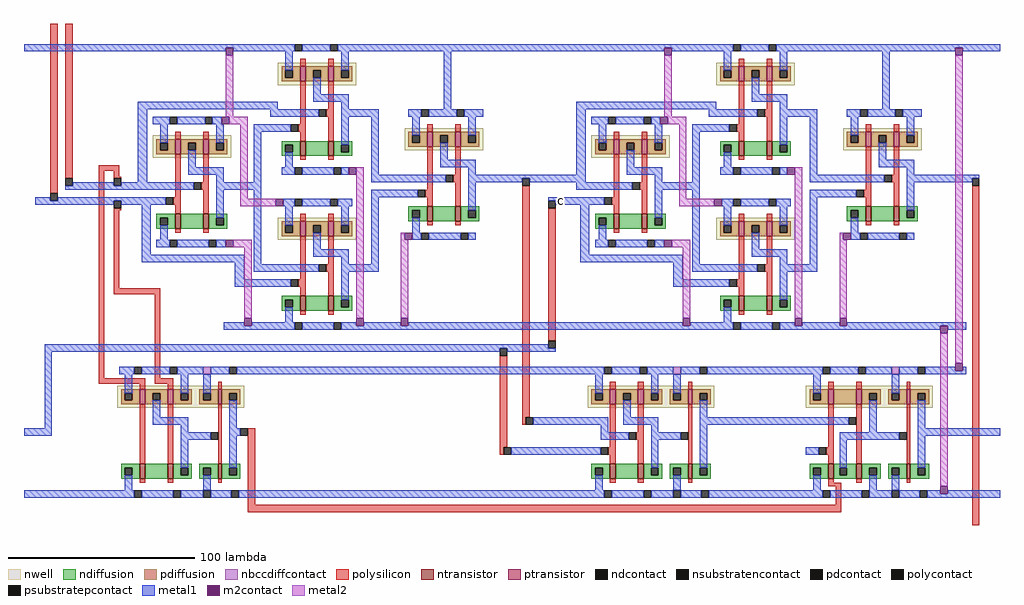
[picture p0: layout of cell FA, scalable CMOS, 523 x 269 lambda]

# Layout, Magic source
magic
tech scmos
<< nwell >>
rect -22 56 20 68
rect 213 56 255 68
rect -89 17 -47 29
rect 46 21 88 33
rect 146 17 188 29
rect 281 21 323 33
rect -22 -27 20 -15
rect 213 -27 255 -15
rect -108 -117 -40 -105
rect 144 -117 212 -105
rect 261 -117 329 -105
<< polysilicon >>
rect -144 -2 -140 89
rect -136 6 -132 89
rect -10 66 -7 70
rect 5 66 8 70
rect 225 66 228 70
rect 240 66 243 70
rect -10 35 -7 58
rect 5 43 8 58
rect 4 39 8 43
rect -11 31 -7 35
rect -77 27 -74 31
rect -62 27 -59 31
rect -10 26 -7 31
rect 5 26 8 39
rect 225 35 228 58
rect 240 43 243 58
rect 239 39 243 43
rect 58 31 61 35
rect 73 31 76 35
rect 224 31 228 35
rect -118 10 -107 13
rect -118 -101 -115 10
rect -110 7 -107 10
rect -110 6 -106 7
rect -77 -4 -74 19
rect -62 4 -59 19
rect 158 27 161 31
rect 173 27 176 31
rect -10 16 -7 18
rect 5 16 8 18
rect -63 0 -59 4
rect 58 0 61 23
rect 73 8 76 23
rect 225 26 228 31
rect 240 26 243 39
rect 293 31 296 35
rect 308 31 311 35
rect 72 4 76 8
rect -78 -8 -74 -4
rect -110 -11 -106 -10
rect -110 -53 -107 -11
rect -77 -13 -74 -8
rect -62 -13 -59 0
rect 57 -4 61 0
rect 58 -9 61 -4
rect 73 -9 76 4
rect -10 -17 -7 -13
rect 5 -17 8 -13
rect -77 -23 -74 -21
rect -62 -23 -59 -21
rect 58 -19 61 -17
rect 73 -19 76 -17
rect -10 -48 -7 -25
rect 5 -40 8 -25
rect 4 -44 8 -40
rect -11 -52 -7 -48
rect -110 -56 -85 -53
rect -88 -101 -85 -56
rect -10 -57 -7 -52
rect 5 -57 8 -44
rect -10 -67 -7 -65
rect 5 -67 8 -65
rect -118 -104 -93 -101
rect -88 -104 -78 -101
rect -96 -107 -93 -104
rect -81 -107 -78 -104
rect -54 -107 -52 -103
rect -96 -147 -93 -115
rect -81 -147 -78 -115
rect -54 -147 -52 -115
rect -96 -157 -93 -155
rect -81 -157 -78 -155
rect -54 -157 -52 -155
rect -38 -169 -34 -128
rect 97 -138 101 -89
rect 109 -122 113 2
rect 158 -4 161 19
rect 173 4 176 19
rect 225 16 228 18
rect 240 16 243 18
rect 172 0 176 4
rect 293 0 296 23
rect 308 8 311 23
rect 307 4 311 8
rect 157 -8 161 -4
rect 123 -81 127 -10
rect 158 -13 161 -8
rect 173 -13 176 0
rect 292 -4 296 0
rect 293 -9 296 -4
rect 308 -9 311 4
rect 225 -17 228 -13
rect 240 -17 243 -13
rect 158 -23 161 -21
rect 173 -23 176 -21
rect 293 -19 296 -17
rect 308 -19 311 -17
rect 225 -48 228 -25
rect 240 -40 243 -25
rect 239 -44 243 -40
rect 224 -52 228 -48
rect 225 -57 228 -52
rect 240 -57 243 -44
rect 225 -67 228 -65
rect 240 -67 243 -65
rect 156 -107 159 -103
rect 171 -107 174 -103
rect 198 -107 200 -103
rect 273 -107 276 -103
rect 288 -107 291 -103
rect 315 -107 317 -103
rect 109 -126 111 -122
rect 156 -138 159 -115
rect 171 -130 174 -115
rect 170 -134 174 -130
rect 97 -142 99 -138
rect 155 -142 159 -138
rect 156 -147 159 -142
rect 171 -147 174 -134
rect 198 -147 200 -115
rect 273 -138 276 -115
rect 272 -142 276 -138
rect 273 -147 276 -142
rect 288 -147 291 -115
rect 315 -147 317 -115
rect 156 -157 159 -155
rect 171 -157 174 -155
rect 198 -157 200 -155
rect 273 -157 276 -155
rect 288 -157 291 -155
rect 315 -157 317 -155
rect 273 -159 280 -157
rect 277 -169 280 -159
rect -38 -173 280 -169
rect 350 -180 354 2
<< ndiffusion >>
rect -20 24 -10 26
rect -20 20 -18 24
rect -14 20 -10 24
rect -20 18 -10 20
rect -7 18 5 26
rect 8 24 18 26
rect 8 20 12 24
rect 16 20 18 24
rect 8 18 18 20
rect 215 24 225 26
rect 215 20 217 24
rect 221 20 225 24
rect 48 -11 58 -9
rect -87 -15 -77 -13
rect -87 -19 -85 -15
rect -81 -19 -77 -15
rect -87 -21 -77 -19
rect -74 -21 -62 -13
rect -59 -15 -49 -13
rect -59 -19 -55 -15
rect -51 -19 -49 -15
rect 48 -15 50 -11
rect 54 -15 58 -11
rect 48 -17 58 -15
rect 61 -17 73 -9
rect 76 -11 86 -9
rect 76 -15 80 -11
rect 84 -15 86 -11
rect 76 -17 86 -15
rect -59 -21 -49 -19
rect -20 -59 -10 -57
rect -20 -63 -18 -59
rect -14 -63 -10 -59
rect -20 -65 -10 -63
rect -7 -65 5 -57
rect 8 -59 18 -57
rect 8 -63 12 -59
rect 16 -63 18 -59
rect 8 -65 18 -63
rect -106 -149 -96 -147
rect -106 -153 -104 -149
rect -100 -153 -96 -149
rect -106 -155 -96 -153
rect -93 -155 -81 -147
rect -78 -149 -68 -147
rect -78 -153 -74 -149
rect -70 -153 -68 -149
rect -78 -155 -68 -153
rect -64 -149 -54 -147
rect -64 -153 -62 -149
rect -58 -153 -54 -149
rect -64 -155 -54 -153
rect -52 -149 -42 -147
rect -52 -153 -48 -149
rect -44 -153 -42 -149
rect -52 -155 -42 -153
rect 215 18 225 20
rect 228 18 240 26
rect 243 24 253 26
rect 243 20 247 24
rect 251 20 253 24
rect 243 18 253 20
rect 283 -11 293 -9
rect 148 -15 158 -13
rect 148 -19 150 -15
rect 154 -19 158 -15
rect 148 -21 158 -19
rect 161 -21 173 -13
rect 176 -15 186 -13
rect 176 -19 180 -15
rect 184 -19 186 -15
rect 283 -15 285 -11
rect 289 -15 293 -11
rect 283 -17 293 -15
rect 296 -17 308 -9
rect 311 -11 321 -9
rect 311 -15 315 -11
rect 319 -15 321 -11
rect 311 -17 321 -15
rect 176 -21 186 -19
rect 215 -59 225 -57
rect 215 -63 217 -59
rect 221 -63 225 -59
rect 215 -65 225 -63
rect 228 -65 240 -57
rect 243 -59 253 -57
rect 243 -63 247 -59
rect 251 -63 253 -59
rect 243 -65 253 -63
rect 146 -149 156 -147
rect 146 -153 148 -149
rect 152 -153 156 -149
rect 146 -155 156 -153
rect 159 -155 171 -147
rect 174 -149 184 -147
rect 174 -153 178 -149
rect 182 -153 184 -149
rect 174 -155 184 -153
rect 188 -149 198 -147
rect 188 -153 190 -149
rect 194 -153 198 -149
rect 188 -155 198 -153
rect 200 -149 210 -147
rect 200 -153 204 -149
rect 208 -153 210 -149
rect 200 -155 210 -153
rect 263 -149 273 -147
rect 263 -153 265 -149
rect 269 -153 273 -149
rect 263 -155 273 -153
rect 276 -149 288 -147
rect 276 -153 279 -149
rect 283 -153 288 -149
rect 276 -155 288 -153
rect 291 -149 301 -147
rect 291 -153 295 -149
rect 299 -153 301 -149
rect 291 -155 301 -153
rect 305 -149 315 -147
rect 305 -153 307 -149
rect 311 -153 315 -149
rect 305 -155 315 -153
rect 317 -149 327 -147
rect 317 -153 321 -149
rect 325 -153 327 -149
rect 317 -155 327 -153
<< pdiffusion >>
rect -20 64 -10 66
rect -20 60 -18 64
rect -14 60 -10 64
rect -20 58 -10 60
rect -7 64 5 66
rect -7 60 -3 64
rect 1 60 5 64
rect -7 58 5 60
rect 8 64 18 66
rect 8 60 12 64
rect 16 60 18 64
rect 8 58 18 60
rect 215 64 225 66
rect 215 60 217 64
rect 221 60 225 64
rect 215 58 225 60
rect 228 64 240 66
rect 228 60 232 64
rect 236 60 240 64
rect 228 58 240 60
rect 243 64 253 66
rect 243 60 247 64
rect 251 60 253 64
rect 243 58 253 60
rect -87 25 -77 27
rect -87 21 -85 25
rect -81 21 -77 25
rect -87 19 -77 21
rect -74 25 -62 27
rect -74 21 -70 25
rect -66 21 -62 25
rect -74 19 -62 21
rect -59 25 -49 27
rect 48 29 58 31
rect -59 21 -55 25
rect -51 21 -49 25
rect -59 19 -49 21
rect 48 25 50 29
rect 54 25 58 29
rect 48 23 58 25
rect 61 29 73 31
rect 61 25 65 29
rect 69 25 73 29
rect 61 23 73 25
rect 76 29 86 31
rect 76 25 80 29
rect 84 25 86 29
rect 76 23 86 25
rect 148 25 158 27
rect 148 21 150 25
rect 154 21 158 25
rect 148 19 158 21
rect 161 25 173 27
rect 161 21 165 25
rect 169 21 173 25
rect 161 19 173 21
rect 176 25 186 27
rect 283 29 293 31
rect 176 21 180 25
rect 184 21 186 25
rect 176 19 186 21
rect -20 -19 -10 -17
rect -20 -23 -18 -19
rect -14 -23 -10 -19
rect -20 -25 -10 -23
rect -7 -19 5 -17
rect -7 -23 -3 -19
rect 1 -23 5 -19
rect -7 -25 5 -23
rect 8 -19 18 -17
rect 8 -23 12 -19
rect 16 -23 18 -19
rect 8 -25 18 -23
rect -106 -109 -96 -107
rect -106 -113 -104 -109
rect -100 -113 -96 -109
rect -106 -115 -96 -113
rect -93 -109 -81 -107
rect -93 -113 -89 -109
rect -85 -113 -81 -109
rect -93 -115 -81 -113
rect -78 -109 -68 -107
rect -78 -113 -74 -109
rect -70 -113 -68 -109
rect -78 -115 -68 -113
rect -64 -109 -54 -107
rect -64 -113 -62 -109
rect -58 -113 -54 -109
rect -64 -115 -54 -113
rect -52 -109 -42 -107
rect -52 -113 -48 -109
rect -44 -113 -42 -109
rect -52 -115 -42 -113
rect 283 25 285 29
rect 289 25 293 29
rect 283 23 293 25
rect 296 29 308 31
rect 296 25 300 29
rect 304 25 308 29
rect 296 23 308 25
rect 311 29 321 31
rect 311 25 315 29
rect 319 25 321 29
rect 311 23 321 25
rect 215 -19 225 -17
rect 215 -23 217 -19
rect 221 -23 225 -19
rect 215 -25 225 -23
rect 228 -19 240 -17
rect 228 -23 232 -19
rect 236 -23 240 -19
rect 228 -25 240 -23
rect 243 -19 253 -17
rect 243 -23 247 -19
rect 251 -23 253 -19
rect 243 -25 253 -23
rect 146 -109 156 -107
rect 146 -113 148 -109
rect 152 -113 156 -109
rect 146 -115 156 -113
rect 159 -109 171 -107
rect 159 -113 163 -109
rect 167 -113 171 -109
rect 159 -115 171 -113
rect 174 -109 184 -107
rect 174 -113 178 -109
rect 182 -113 184 -109
rect 174 -115 184 -113
rect 188 -109 198 -107
rect 188 -113 190 -109
rect 194 -113 198 -109
rect 188 -115 198 -113
rect 200 -109 210 -107
rect 200 -113 204 -109
rect 208 -113 210 -109
rect 200 -115 210 -113
rect 263 -109 273 -107
rect 263 -113 265 -109
rect 269 -113 273 -109
rect 263 -115 273 -113
rect 276 -115 288 -107
rect 291 -109 301 -107
rect 291 -113 295 -109
rect 299 -113 301 -109
rect 291 -115 301 -113
rect 305 -109 315 -107
rect 305 -113 307 -109
rect 311 -113 315 -109
rect 305 -115 315 -113
rect 317 -109 327 -107
rect 317 -113 321 -109
rect 325 -113 327 -109
rect 317 -115 327 -113
<< metal1 >>
rect -158 76 -13 78
rect -158 74 -50 76
rect -46 74 -13 76
rect -9 74 6 78
rect 10 76 222 78
rect 10 74 185 76
rect -18 64 -14 74
rect 12 64 16 74
rect -3 51 1 60
rect -3 47 16 51
rect -97 43 -22 47
rect 12 43 16 47
rect 67 43 71 74
rect 189 74 222 76
rect 226 74 241 78
rect 245 76 365 78
rect 245 74 341 76
rect 217 64 221 74
rect 247 64 251 74
rect 232 51 236 60
rect 232 47 251 51
rect 138 43 213 47
rect 247 43 251 47
rect 302 43 306 74
rect 345 74 365 76
rect -132 2 -110 4
rect -97 4 -92 43
rect -26 39 0 43
rect 12 39 32 43
rect 48 39 55 43
rect 59 39 74 43
rect 78 39 88 43
rect -89 35 -80 39
rect -76 35 -61 39
rect -57 35 -52 39
rect -85 25 -81 35
rect -55 25 -51 35
rect -35 31 -15 35
rect -70 12 -66 21
rect -70 8 -51 12
rect -55 4 -51 8
rect -35 4 -31 31
rect 12 24 16 39
rect -18 12 -14 20
rect -20 8 -13 12
rect -9 8 8 12
rect 12 8 16 12
rect 28 8 32 39
rect 50 29 54 39
rect 80 29 84 39
rect 65 16 69 25
rect 65 12 84 16
rect 80 8 84 12
rect 138 8 143 43
rect 209 39 235 43
rect 247 39 267 43
rect 283 39 290 43
rect 294 39 309 43
rect 313 39 323 43
rect 146 35 155 39
rect 159 35 174 39
rect 178 35 183 39
rect 150 25 154 35
rect 180 25 184 35
rect 200 31 220 35
rect 165 12 169 21
rect 165 8 184 12
rect 28 4 68 8
rect 80 6 143 8
rect 80 4 109 6
rect -106 2 -67 4
rect -136 0 -67 2
rect -55 0 -31 4
rect -152 -6 -144 -4
rect -140 -6 -82 -4
rect -152 -8 -110 -6
rect -106 -8 -82 -6
rect -95 -35 -90 -8
rect -55 -15 -51 0
rect -85 -27 -81 -19
rect -87 -31 -80 -27
rect -76 -31 -59 -27
rect -55 -31 -50 -27
rect -95 -39 -40 -35
rect -45 -48 -40 -39
rect -35 -40 -31 0
rect 28 -4 53 0
rect -19 -9 -13 -5
rect -9 -9 6 -5
rect 10 -9 18 -5
rect -18 -19 -14 -9
rect 12 -19 16 -9
rect -3 -32 1 -23
rect -3 -36 16 -32
rect 12 -40 16 -36
rect 28 -40 32 -4
rect 80 -11 84 4
rect 113 4 143 6
rect 180 4 184 8
rect 200 4 204 31
rect 247 24 251 39
rect 217 12 221 20
rect 215 8 222 12
rect 226 8 243 12
rect 247 8 251 12
rect 263 8 267 39
rect 285 29 289 39
rect 315 29 319 39
rect 300 16 304 25
rect 300 12 319 16
rect 315 8 319 12
rect 263 4 303 8
rect 315 6 354 8
rect 315 4 350 6
rect 138 0 168 4
rect 180 0 204 4
rect 123 -6 153 -4
rect 127 -8 153 -6
rect 50 -23 54 -15
rect 50 -27 55 -23
rect 59 -27 76 -23
rect 80 -27 84 -23
rect 140 -35 145 -8
rect 180 -15 184 0
rect 150 -27 154 -19
rect 148 -31 155 -27
rect 159 -31 176 -27
rect 180 -31 185 -27
rect 140 -39 195 -35
rect -35 -44 0 -40
rect 12 -44 32 -40
rect -45 -52 -15 -48
rect 12 -59 16 -44
rect 190 -48 195 -39
rect 200 -40 204 0
rect 263 -4 288 0
rect 216 -9 222 -5
rect 226 -9 241 -5
rect 245 -9 253 -5
rect 217 -19 221 -9
rect 247 -19 251 -9
rect 232 -32 236 -23
rect 232 -36 251 -32
rect 247 -40 251 -36
rect 263 -40 267 -4
rect 315 -11 319 4
rect 285 -23 289 -15
rect 285 -27 290 -23
rect 294 -27 311 -23
rect 315 -27 319 -23
rect 200 -44 235 -40
rect 247 -44 267 -40
rect 190 -52 220 -48
rect 247 -59 251 -44
rect -51 -73 -40 -71
rect -18 -71 -14 -63
rect -36 -73 -13 -71
rect -51 -75 -13 -73
rect -9 -75 8 -71
rect 12 -73 20 -71
rect 24 -73 44 -71
rect 48 -73 195 -71
rect 217 -71 221 -63
rect 199 -73 222 -71
rect 12 -75 222 -73
rect 226 -75 243 -71
rect 247 -73 255 -71
rect 259 -73 279 -71
rect 283 -73 347 -71
rect 247 -75 333 -73
rect 337 -75 347 -73
rect -147 -85 123 -83
rect -147 -87 97 -85
rect -147 -128 -143 -87
rect 101 -87 127 -85
rect -107 -99 -99 -95
rect -95 -99 -80 -95
rect -76 -99 -62 -95
rect -58 -99 -48 -95
rect -44 -99 153 -95
rect 157 -99 172 -95
rect 176 -99 190 -95
rect 194 -99 204 -95
rect 208 -99 270 -95
rect 274 -99 289 -95
rect 293 -99 307 -95
rect 311 -99 321 -95
rect 325 -97 341 -95
rect 345 -97 347 -95
rect 325 -99 347 -97
rect -104 -109 -100 -99
rect -74 -109 -70 -99
rect -62 -109 -58 -99
rect 148 -109 152 -99
rect 178 -109 182 -99
rect 190 -109 194 -99
rect 265 -109 269 -99
rect 307 -109 311 -99
rect -89 -122 -85 -113
rect -89 -126 -70 -122
rect -158 -132 -143 -128
rect -74 -130 -70 -126
rect -48 -128 -44 -113
rect 163 -122 167 -113
rect 204 -122 208 -113
rect 115 -126 155 -122
rect 163 -126 182 -122
rect -74 -134 -58 -130
rect -48 -132 -42 -128
rect 151 -130 155 -126
rect 178 -130 182 -126
rect 204 -126 284 -122
rect -74 -149 -70 -134
rect -48 -149 -44 -132
rect 151 -134 166 -130
rect 178 -134 194 -130
rect 103 -142 151 -138
rect 178 -149 182 -134
rect 204 -149 208 -126
rect 295 -130 299 -113
rect 321 -128 325 -113
rect 279 -134 311 -130
rect 321 -132 365 -128
rect 261 -142 268 -138
rect 279 -149 283 -134
rect 321 -149 325 -132
rect -104 -161 -100 -153
rect -62 -161 -58 -153
rect 148 -161 152 -153
rect 190 -161 194 -153
rect 265 -161 269 -153
rect 295 -161 299 -153
rect 307 -161 311 -153
rect -158 -165 -99 -161
rect -95 -165 -78 -161
rect -74 -165 -62 -161
rect -58 -165 -47 -161
rect -43 -165 153 -161
rect 157 -165 174 -161
rect 178 -165 190 -161
rect 194 -165 205 -161
rect 209 -165 270 -161
rect 274 -165 291 -161
rect 295 -165 307 -161
rect 311 -165 322 -161
rect 326 -163 333 -161
rect 337 -163 365 -161
rect 326 -165 365 -163
<< metal2 >>
rect -50 39 -46 72
rect 185 39 189 72
rect -48 35 -38 39
rect 187 35 197 39
rect -42 -5 -38 35
rect -42 -9 -23 -5
rect -46 -31 -36 -27
rect -40 -69 -36 -31
rect 20 -69 24 12
rect 193 -5 197 35
rect 193 -9 212 -5
rect 44 -27 46 -23
rect 44 -69 48 -27
rect 189 -31 199 -27
rect 195 -69 199 -31
rect 255 -69 259 12
rect 279 -27 281 -23
rect 279 -69 283 -27
rect 333 -159 337 -77
rect 341 -93 345 72
<< ntransistor >>
rect -10 18 -7 26
rect 5 18 8 26
rect -77 -21 -74 -13
rect -62 -21 -59 -13
rect 58 -17 61 -9
rect 73 -17 76 -9
rect -10 -65 -7 -57
rect 5 -65 8 -57
rect -96 -155 -93 -147
rect -81 -155 -78 -147
rect -54 -155 -52 -147
rect 225 18 228 26
rect 240 18 243 26
rect 158 -21 161 -13
rect 173 -21 176 -13
rect 293 -17 296 -9
rect 308 -17 311 -9
rect 225 -65 228 -57
rect 240 -65 243 -57
rect 156 -155 159 -147
rect 171 -155 174 -147
rect 198 -155 200 -147
rect 273 -155 276 -147
rect 288 -155 291 -147
rect 315 -155 317 -147
<< ptransistor >>
rect -10 58 -7 66
rect 5 58 8 66
rect 225 58 228 66
rect 240 58 243 66
rect -77 19 -74 27
rect -62 19 -59 27
rect 58 23 61 31
rect 73 23 76 31
rect 158 19 161 27
rect 173 19 176 27
rect -10 -25 -7 -17
rect 5 -25 8 -17
rect -96 -115 -93 -107
rect -81 -115 -78 -107
rect -54 -115 -52 -107
rect 293 23 296 31
rect 308 23 311 31
rect 225 -25 228 -17
rect 240 -25 243 -17
rect 156 -115 159 -107
rect 171 -115 174 -107
rect 198 -115 200 -107
rect 273 -115 276 -107
rect 288 -115 291 -107
rect 315 -115 317 -107
<< polycontact >>
rect 0 39 4 43
rect -15 31 -11 35
rect 235 39 239 43
rect 220 31 224 35
rect -136 2 -132 6
rect -144 -6 -140 -2
rect -110 2 -106 6
rect -67 0 -63 4
rect 68 4 72 8
rect -110 -10 -106 -6
rect -82 -8 -78 -4
rect 53 -4 57 0
rect 109 2 113 6
rect 0 -44 4 -40
rect -15 -52 -11 -48
rect 97 -89 101 -85
rect -58 -134 -54 -130
rect -42 -132 -38 -128
rect 168 0 172 4
rect 303 4 307 8
rect 123 -10 127 -6
rect 153 -8 157 -4
rect 288 -4 292 0
rect 350 2 354 6
rect 235 -44 239 -40
rect 220 -52 224 -48
rect 123 -85 127 -81
rect 111 -126 115 -122
rect 166 -134 170 -130
rect 194 -134 198 -130
rect 99 -142 103 -138
rect 151 -142 155 -138
rect 284 -126 288 -122
rect 268 -142 272 -138
rect 311 -134 315 -130
<< ndcontact >>
rect -18 20 -14 24
rect 12 20 16 24
rect 217 20 221 24
rect -85 -19 -81 -15
rect -55 -19 -51 -15
rect 50 -15 54 -11
rect 80 -15 84 -11
rect -18 -63 -14 -59
rect 12 -63 16 -59
rect -104 -153 -100 -149
rect -74 -153 -70 -149
rect -62 -153 -58 -149
rect -48 -153 -44 -149
rect 247 20 251 24
rect 150 -19 154 -15
rect 180 -19 184 -15
rect 285 -15 289 -11
rect 315 -15 319 -11
rect 217 -63 221 -59
rect 247 -63 251 -59
rect 148 -153 152 -149
rect 178 -153 182 -149
rect 190 -153 194 -149
rect 204 -153 208 -149
rect 265 -153 269 -149
rect 279 -153 283 -149
rect 295 -153 299 -149
rect 307 -153 311 -149
rect 321 -153 325 -149
<< pdcontact >>
rect -18 60 -14 64
rect -3 60 1 64
rect 12 60 16 64
rect 217 60 221 64
rect 232 60 236 64
rect 247 60 251 64
rect -85 21 -81 25
rect -70 21 -66 25
rect -55 21 -51 25
rect 50 25 54 29
rect 65 25 69 29
rect 80 25 84 29
rect 150 21 154 25
rect 165 21 169 25
rect 180 21 184 25
rect -18 -23 -14 -19
rect -3 -23 1 -19
rect 12 -23 16 -19
rect -104 -113 -100 -109
rect -89 -113 -85 -109
rect -74 -113 -70 -109
rect -62 -113 -58 -109
rect -48 -113 -44 -109
rect 285 25 289 29
rect 300 25 304 29
rect 315 25 319 29
rect 217 -23 221 -19
rect 232 -23 236 -19
rect 247 -23 251 -19
rect 148 -113 152 -109
rect 163 -113 167 -109
rect 178 -113 182 -109
rect 190 -113 194 -109
rect 204 -113 208 -109
rect 265 -113 269 -109
rect 295 -113 299 -109
rect 307 -113 311 -109
rect 321 -113 325 -109
<< nbccdiffcontact >>
rect -62 -99 -58 -95
rect 190 -99 194 -95
rect 307 -99 311 -95
<< m2contact >>
rect -50 72 -46 76
rect 185 72 189 76
rect 341 72 345 76
rect -52 35 -48 39
rect 16 8 20 12
rect 183 35 187 39
rect -50 -31 -46 -27
rect -23 -9 -19 -5
rect 251 8 255 12
rect 46 -27 50 -23
rect 185 -31 189 -27
rect 212 -9 216 -5
rect 281 -27 285 -23
rect -40 -73 -36 -69
rect 20 -73 24 -69
rect 44 -73 48 -69
rect 195 -73 199 -69
rect 255 -73 259 -69
rect 279 -73 283 -69
rect 333 -77 337 -73
rect 341 -97 345 -93
rect 333 -163 337 -159
<< psubstratepcontact >>
rect -13 8 -9 12
rect 8 8 12 12
rect -80 -31 -76 -27
rect -59 -31 -55 -27
rect 55 -27 59 -23
rect 76 -27 80 -23
rect -13 -75 -9 -71
rect 8 -75 12 -71
rect -99 -165 -95 -161
rect -78 -165 -74 -161
rect -62 -165 -58 -161
rect -47 -165 -43 -161
rect 222 8 226 12
rect 243 8 247 12
rect 155 -31 159 -27
rect 176 -31 180 -27
rect 290 -27 294 -23
rect 311 -27 315 -23
rect 222 -75 226 -71
rect 243 -75 247 -71
rect 153 -165 157 -161
rect 174 -165 178 -161
rect 190 -165 194 -161
rect 205 -165 209 -161
rect 270 -165 274 -161
rect 291 -165 295 -161
rect 307 -165 311 -161
rect 322 -165 326 -161
<< nsubstratencontact >>
rect -13 74 -9 78
rect 6 74 10 78
rect 222 74 226 78
rect 241 74 245 78
rect -80 35 -76 39
rect -61 35 -57 39
rect 55 39 59 43
rect 74 39 78 43
rect 155 35 159 39
rect 174 35 178 39
rect 290 39 294 43
rect 309 39 313 43
rect -13 -9 -9 -5
rect 6 -9 10 -5
rect -99 -99 -95 -95
rect -80 -99 -76 -95
rect -48 -99 -44 -95
rect 222 -9 226 -5
rect 241 -9 245 -5
rect 153 -99 157 -95
rect 172 -99 176 -95
rect 204 -99 208 -95
rect 270 -99 274 -95
rect 289 -99 293 -95
rect 321 -99 325 -95
<< labels >>
rlabel metal1 130 -6 130 -6 1 c
<< end >>
